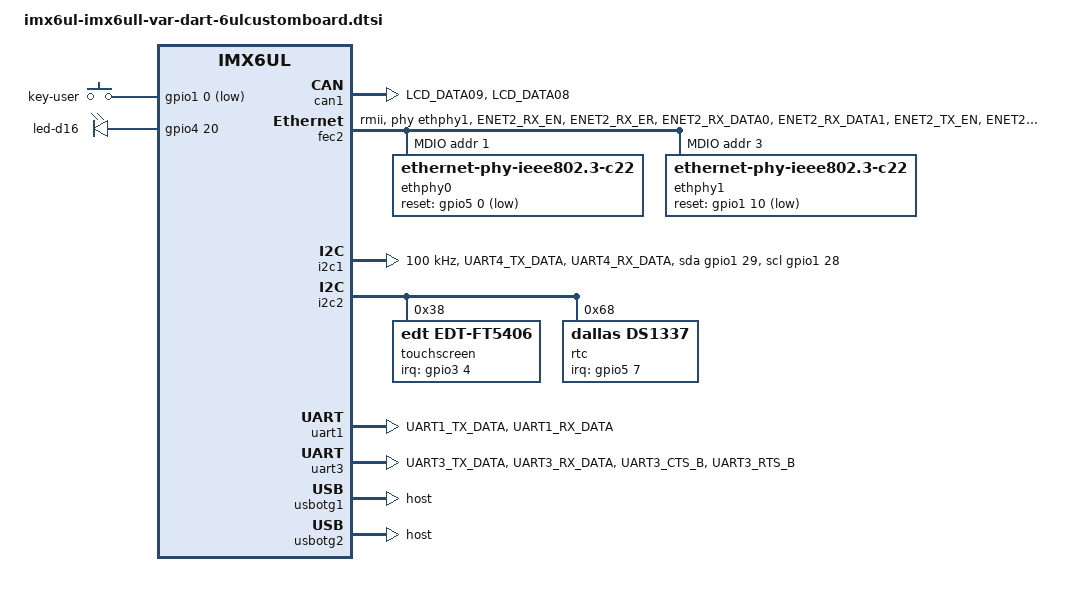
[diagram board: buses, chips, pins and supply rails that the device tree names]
// SPDX-License-Identifier: GPL-2.0+
/*
 * Copyright (C) 2026 Variscite Ltd. - https://www.variscite.com
 */

/ {
	chosen {
		stdout-path = &uart1;
	};

	gpio-keys {
		compatible = "gpio-keys";
		pinctrl-names = "default";
		pinctrl-0 = <&pinctrl_gpio_keys>;

		key-user {
			gpios = <&gpio1 0 GPIO_ACTIVE_LOW>;
			linux,code = <KEY_BACK>;
		};
	};

	leds {
		compatible = "gpio-leds";
		pinctrl-names = "default";
		pinctrl-0 = <&pinctrl_gpio_leds>;

		led-d16 {
			gpios = <&gpio4 20 GPIO_ACTIVE_HIGH>;
			linux,default-trigger = "heartbeat";
		};
	};
};

&can1 {
	pinctrl-names = "default";
	pinctrl-0 = <&pinctrl_flexcan1>;
	status = "okay";
};

&fec1 {
	pinctrl-0 = <&pinctrl_enet1>, <&pinctrl_enet1_gpio>;
	/delete-node/ mdio;
};

&fec2 {
	pinctrl-names = "default";
	pinctrl-0 = <&pinctrl_enet2>, <&pinctrl_enet2_gpio>, <&pinctrl_enet2_mdio>;
	phy-mode = "rmii";
	phy-handle = <&ethphy1>;
	status = "okay";

	mdio {
		#address-cells = <1>;
		#size-cells = <0>;

		ethphy0: ethernet-phy@1 {
			compatible = "ethernet-phy-ieee802.3-c22";
			reg = <1>;
			clocks = <&rmii_ref_clk>;
			clock-names = "rmii-ref";
			reset-gpios = <&gpio5 0 GPIO_ACTIVE_LOW>;
			reset-assert-us = <10000>;
			reset-deassert-us = <100000>;
			micrel,rmii-reference-clock-select-25-mhz = <1>;
			micrel,led-mode = <1>;
		};

		ethphy1: ethernet-phy@3 {
			compatible = "ethernet-phy-ieee802.3-c22";
			reg = <3>;
			clocks = <&rmii_ref_clk>;
			clock-names = "rmii-ref";
			reset-gpios = <&gpio1 10 GPIO_ACTIVE_LOW>;
			reset-assert-us = <10000>;
			reset-deassert-us = <100000>;
			micrel,rmii-reference-clock-select-25-mhz = <1>;
			micrel,led-mode = <1>;
		};
	};
};

&i2c1 {
	clock-frequency = <100000>;
	pinctrl-names = "default", "gpio";
	pinctrl-0 = <&pinctrl_i2c1>;
	pinctrl-1 = <&pinctrl_i2c1_gpio>;
	scl-gpios = <&gpio1 28 (GPIO_ACTIVE_HIGH | GPIO_OPEN_DRAIN)>;
	sda-gpios = <&gpio1 29 (GPIO_ACTIVE_HIGH | GPIO_OPEN_DRAIN)>;
	status = "okay";
};

&i2c2 {
	touchscreen@38 {
		compatible = "edt,edt-ft5406";
		reg = <0x38>;
		pinctrl-names = "default";
		pinctrl-0 = <&pinctrl_ft5x06_ts_gpio>;
		interrupt-parent = <&gpio3>;
		interrupts = <4 IRQ_TYPE_EDGE_FALLING>;
		touchscreen-size-x = <800>;
		touchscreen-size-y = <480>;
		touchscreen-inverted-x;
		touchscreen-inverted-y;
	};

	/* DS1337 RTC module */
	rtc@68 {
		compatible = "dallas,ds1337";
		reg = <0x68>;
		pinctrl-names = "default";
		pinctrl-0 = <&pinctrl_rtc>;
		interrupt-parent = <&gpio5>;
		interrupts = <7 IRQ_TYPE_EDGE_FALLING>;
		wakeup-source;
	};
};

&snvs_rtc {
	status = "disabled";
};

/* Console UART */
&uart1 {
	pinctrl-names = "default";
	pinctrl-0 = <&pinctrl_uart1>;
	status = "okay";
};

/* ttymxc2 UART */
&uart3 {
	pinctrl-names = "default";
	pinctrl-0 = <&pinctrl_uart3>;
	uart-has-rtscts;
	status = "okay";
};

&usbotg1 {
	dr_mode = "host";
	status = "okay";
};

&usbotg2 {
	dr_mode = "host";
	status = "okay";
};

&wdog1 {
	pinctrl-names = "default";
	pinctrl-0 = <&pinctrl_wdog>;
	fsl,ext-reset-output;
};

&iomuxc {
	pinctrl_enet2: enet2-grp {
		fsl,pins = <
			MX6UL_PAD_ENET2_RX_EN__ENET2_RX_EN	0x1b0b0
			MX6UL_PAD_ENET2_RX_ER__ENET2_RX_ER	0x1b0b0
			MX6UL_PAD_ENET2_RX_DATA0__ENET2_RDATA00	0x1b0b0
			MX6UL_PAD_ENET2_RX_DATA1__ENET2_RDATA01	0x1b0b0
			MX6UL_PAD_ENET2_TX_EN__ENET2_TX_EN	0x1b0b0
			MX6UL_PAD_ENET2_TX_DATA0__ENET2_TDATA00	0x1b0b0
			MX6UL_PAD_ENET2_TX_DATA1__ENET2_TDATA01	0x1b0b0
			MX6UL_PAD_ENET2_TX_CLK__ENET2_REF_CLK2	0x4001b031
		>;
	};

	pinctrl_enet2_gpio: enet2-gpio-grp {
		fsl,pins = <
			MX6UL_PAD_JTAG_MOD__GPIO1_IO10		0x1b0b0
		>;
	};

	pinctrl_enet2_mdio: enet2-mdio-grp {
		fsl,pins = <
			MX6UL_PAD_GPIO1_IO06__ENET2_MDIO	0x1b0b0
			MX6UL_PAD_GPIO1_IO07__ENET2_MDC		0x1b0b0
		>;
	};

	pinctrl_flexcan1: flexcan1-grp {
		fsl,pins = <
			MX6UL_PAD_LCD_DATA09__FLEXCAN1_RX	0x1b020
			MX6UL_PAD_LCD_DATA08__FLEXCAN1_TX	0x1b020
		>;
	};

	pinctrl_ft5x06_ts_gpio: ft5x06-ts-gpio-grp {
		fsl,pins = <
			MX6UL_PAD_LCD_RESET__GPIO3_IO04		0x80000000
		>;
	};

	pinctrl_gpio_keys: gpio-keys-grp {
		fsl,pins = <
			MX6UL_PAD_GPIO1_IO00__GPIO1_IO00	0x17059
		>;
	};

	pinctrl_gpio_leds: gpio-leds-grp {
		fsl,pins = <
			MX6UL_PAD_CSI_HSYNC__GPIO4_IO20		0x1b0b0
		>;
	};

	pinctrl_i2c1: i2c1-grp {
		fsl,pins = <
			MX6UL_PAD_UART4_TX_DATA__I2C1_SCL	0x4001b8b0
			MX6UL_PAD_UART4_RX_DATA__I2C1_SDA	0x4001b8b0
		>;
	};

	pinctrl_i2c1_gpio: i2c1-gpio-grp {
		fsl,pins = <
			MX6UL_PAD_UART4_TX_DATA__GPIO1_IO28	0x1b0b0
			MX6UL_PAD_UART4_RX_DATA__GPIO1_IO29	0x1b0b0
		>;
	};

	pinctrl_uart1: uart1-grp {
		fsl,pins = <
			MX6UL_PAD_UART1_TX_DATA__UART1_DCE_TX   0x1b0b1
			MX6UL_PAD_UART1_RX_DATA__UART1_DCE_RX   0x1b0b1
		>;
	};

	pinctrl_uart3: uart3-grp {
		fsl,pins = <
			MX6UL_PAD_UART3_TX_DATA__UART3_DCE_TX	0x1b0b1
			MX6UL_PAD_UART3_RX_DATA__UART3_DCE_RX	0x1b0b1
			MX6UL_PAD_UART3_CTS_B__UART3_DCE_CTS	0x1b0b1
			MX6UL_PAD_UART3_RTS_B__UART3_DCE_RTS	0x1b0b1
		>;
	};

	pinctrl_wdog: wdog-grp {
		fsl,pins = <
			MX6UL_PAD_GPIO1_IO08__WDOG1_WDOG_B	0x78b0
		>;
	};
};
